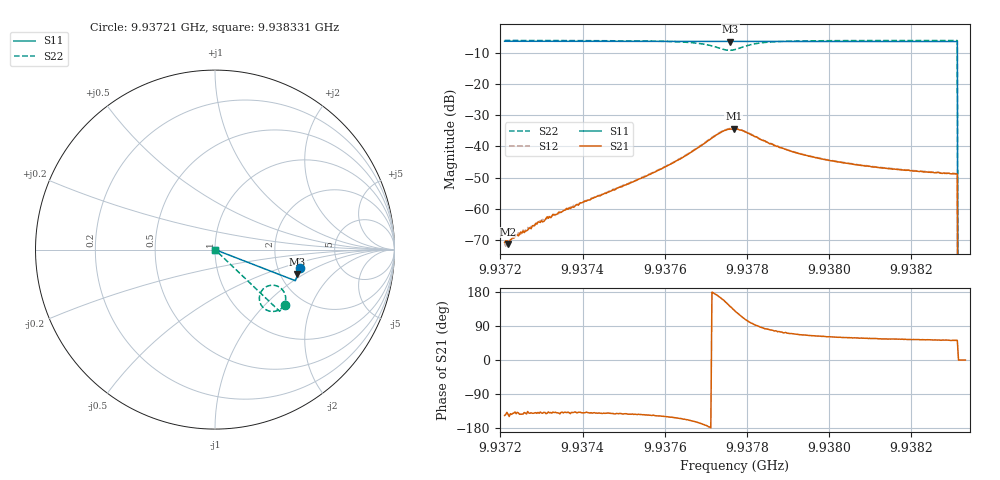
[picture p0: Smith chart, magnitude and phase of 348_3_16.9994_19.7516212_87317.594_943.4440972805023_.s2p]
#  HZ  S  RI  R  50.00
! Rohde & Schwarz Vector Network Analyzer
! Rohde-Schwarz,ZNB20-2Port,1311601062101988,3.16
! Created: UTC 3/20/2024, 11:07:43 PM
! freq[Hz]  re:S11  im:S11  re:S21  im:S21  re:S12  im:S12  re:S22  im:S22
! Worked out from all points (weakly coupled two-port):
!   401 points, 9.93721 GHz to 9.938331 GHz, reference 50 ohm
!   highest |S21| = -34.28 dB at 9.937768 GHz (marker M1); lowest = -71.3 dB at 9.937219 GHz (marker M2)
!   lowest |S11| = -6.4 dB at 9.93776 GHz (marker M3), VSWR 2.84, Z = 124 - j44.1 ohm
!   |S11| at or under -10 dB: 9.938312 GHz to end of sweep
!   |S22| runs from - to -6.0 dB; largest |S21 - S12| = 0.00088
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9.9372102e9  0.473 -0.1021  -0.000242 -0.000161  -0.000226 -0.000165  0.3897 -0.3109
9.9372186e9  0.4727 -0.1027  -0.00022 -0.000162  -0.000263 -0.000164  0.389 -0.3113
9.9372382e9  0.4725 -0.104  -0.0003 -0.000237  -0.000303 -0.000232  0.3879 -0.3128
9.9372999e9  0.4712 -0.1082  -0.000494 -0.000416  -0.000489 -0.00045  0.3832 -0.317
9.9373139e9  0.4708 -0.109  -0.000579 -0.000479  -0.00054 -0.00045  0.3821 -0.3181
9.937398e9  0.4692 -0.1148  -0.000951 -0.000813  -0.000953 -0.000791  0.3744 -0.3244
9.9375858e9  0.4649 -0.1275  -0.00355 -0.00225  -0.00367 -0.00223  0.3431 -0.3414
9.9376363e9  0.4636 -0.1307  -0.00564 -0.00275  -0.00575 -0.0027  0.3235 -0.3446
9.9376951e9  0.4615 -0.1347  -0.0109 -0.00184  -0.0112 -0.00163  0.2801 -0.3328
9.93774e9  0.4597 -0.1367  -0.0163 0.00585  -0.0165 0.00641  0.2472 -0.2657
9.9377596e9  0.4592 -0.1372  -0.0147 0.0121  -0.0147 0.0127  0.2676 -0.2203
9.937768e9  0.4592 -0.1375  -0.013 0.0143  -0.0128 0.0148  0.2856 -0.207
9.9377708e9  0.4592 -0.1375  -0.0121 0.0147  -0.012 0.0154  0.2923 -0.2039
9.9377933e9  0.4595 -0.1387  -0.00585 0.0165  -0.0054 0.0168  0.3437 -0.2022
9.9378297e9  0.4594 -0.1411  0.000404 0.0132  0.000749 0.0134  0.3849 -0.237
9.937883e9  0.4584 -0.1452  0.00269 0.00922  0.00293 0.00917  0.3935 -0.2758
9.9379586e9  0.4566 -0.1504  0.00298 0.00616  0.00311 0.00615  0.3879 -0.3028
9.9380455e9  0.4545 -0.1562  0.00276 0.00459  0.00292 0.00458  0.3797 -0.3187
9.9381464e9  0.4517 -0.1627  0.0025 0.00364  0.0026 0.00365  0.3712 -0.3303
9.9383062e9  0.4474 -0.1729  0.00225 0.00287  0.0023 0.00288  0.3597 -0.343
9.9383202e9  0 0  0 0  0 0  0 0
9.9383314e9  0 0  0 0  0 0  0 0
